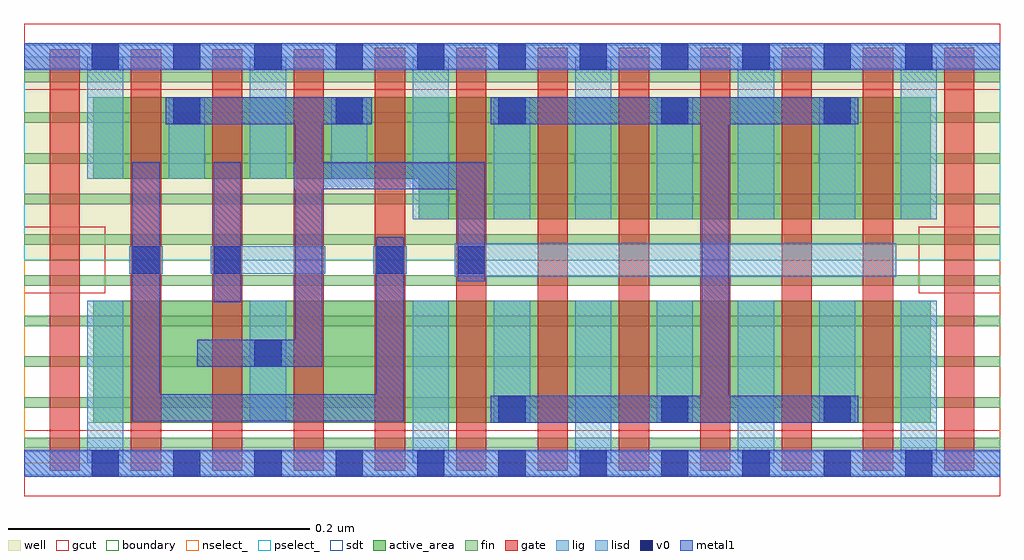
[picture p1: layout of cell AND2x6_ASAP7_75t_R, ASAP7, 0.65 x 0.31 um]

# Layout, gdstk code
import gdstk
lib = gdstk.Library(unit=1e-6, precision=1e-09)
def R(c, l, rs):  # rectangles x0, y0, x1, y1
    for r in rs: c.add(gdstk.rectangle(r[:2], r[2:], *l))
def A(c, l, x, y, w, h, nx, ny, dx, dy):  # array of equal rectangles
    R(c, l, [(x+i*dx, y+j*dy, x+i*dx+w, y+j*dy+h) for i in range(nx) for j in range(ny)])
def P(c, l, *ps):  # polygons
    for p in ps: c.add(gdstk.Polygon(p, *l))
well = (1, 0)
fin = (2, 0)
gate = (7, 0)
gcut = (10, 0)
active_area = (11, 0)
nselect_ = (12, 0)
pselect_ = (13, 0)
lig = (16, 0)
lisd = (17, 0)
v0 = (18, 0)
metal1 = (19, 0)
sdt = (88, 0)
boundary = (100, 0)

and2x6_asap7_75t_r = lib.new_cell('AND2x6_ASAP7_75t_R')
R(and2x6_asap7_75t_r, well, [(0,0.135,0.648,0.27)])
A(and2x6_asap7_75t_r, fin, 0, 0.01, 0.648, 0.007, 1, 10, 0, 0.027)
A(and2x6_asap7_75t_r, gate, 0.017, -0.005, 0.02, 0.28, 4, 1, 0.054, 0)
A(and2x6_asap7_75t_r, gate, 0.233, -0.005, 0.02, 0.281, 8, 1, 0.054, 0)
R(and2x6_asap7_75t_r, gcut, [(0,-0.022,0.648,0.022), (0,0.113,0.054,0.157), (0.594,0.113,0.648,0.157), (0,0.248,0.648,0.292)])
R(and2x6_asap7_75t_r, active_area, [(0.046,0.027,0.602,0.108)])
P(and2x6_asap7_75t_r, active_area, [(0.262,0.162),(0.262,0.189),(0.046,0.189),(0.046,0.243),(0.602,0.243),(0.602,0.162)])
R(and2x6_asap7_75t_r, nselect_, [(0,0,0.648,0.135)])
R(and2x6_asap7_75t_r, pselect_, [(0,0.135,0.648,0.27)])
R(and2x6_asap7_75t_r, lig, [(0,-0.008,0.648,0.008), (0.286,0.124,0.579,0.146), (0.07,0.126,0.092,0.144), (0.124,0.126,0.2,0.144), (0.232,0.126,0.254,0.144), (0,0.262,0.648,0.278)])
A(and2x6_asap7_75t_r, lisd, 0.258, 0, 0.024, 0.108, 4, 2, 0.108, 0.162)
A(and2x6_asap7_75t_r, lisd, 0.312, 0.027, 0.024, 0.081, 3, 2, 0.108, 0.135)
R(and2x6_asap7_75t_r, lisd, [(0.042,0,0.066,0.108), (0.15,0.027,0.174,0.108), (0.042,0.189,0.066,0.27), (0.096,0.189,0.12,0.243), (0.15,0.189,0.174,0.27), (0.204,0.189,0.228,0.243)])
A(and2x6_asap7_75t_r, v0, 0.045, -0.009, 0.018, 0.018, 11, 2, 0.054, 0.27)
A(and2x6_asap7_75t_r, v0, 0.315, 0.027, 0.018, 0.018, 3, 1, 0.108, 0)
A(and2x6_asap7_75t_r, v0, 0.099, 0.225, 0.018, 0.018, 5, 1, 0.108, 0)
R(and2x6_asap7_75t_r, v0, [(0.153,0.064,0.171,0.082), (0.072,0.126,0.09,0.144), (0.126,0.126,0.144,0.144), (0.234,0.126,0.252,0.144), (0.288,0.126,0.306,0.144)])
R(and2x6_asap7_75t_r, metal1, [(0,-0.009,0.648,0.009), (0.126,0.107,0.144,0.2), (0,0.261,0.648,0.279)])
P(and2x6_asap7_75t_r, metal1, [(0.115,0.064),(0.115,0.082),(0.18,0.082),(0.18,0.182),(0.179,0.182),(0.179,0.2),(0.18,0.2),(0.18,0.225),(0.094,0.225),(0.094,0.243),(0.231,0.243),(0.231,0.225),(0.198,0.225),(0.198,0.2),(0.306,0.2),(0.306,0.121),(0.288,0.121),(0.288,0.182),(0.198,0.182),(0.198,0.064)],
  [(0.31,0.027),(0.31,0.045),(0.45,0.045),(0.45,0.225),(0.31,0.225),(0.31,0.243),(0.554,0.243),(0.554,0.225),(0.468,0.225),(0.468,0.045),(0.554,0.045),(0.554,0.027)],
  [(0.072,0.028),(0.072,0.2),(0.09,0.2),(0.09,0.046),(0.234,0.046),(0.234,0.15),(0.252,0.15),(0.252,0.028)])
A(and2x6_asap7_75t_r, sdt, 0.042, 0.027, 0.024, 0.081, 3, 1, 0.108, 0)
A(and2x6_asap7_75t_r, sdt, 0.312, 0.027, 0.024, 0.081, 6, 1, 0.054, 0)
A(and2x6_asap7_75t_r, sdt, 0.258, 0.162, 0.024, 0.081, 7, 1, 0.054, 0)
A(and2x6_asap7_75t_r, sdt, 0.042, 0.189, 0.024, 0.054, 4, 1, 0.054, 0)
R(and2x6_asap7_75t_r, boundary, [(0,0,0.648,0.27)])

lib.write_gds('AND2x6_ASAP7_75t_R.gds')
